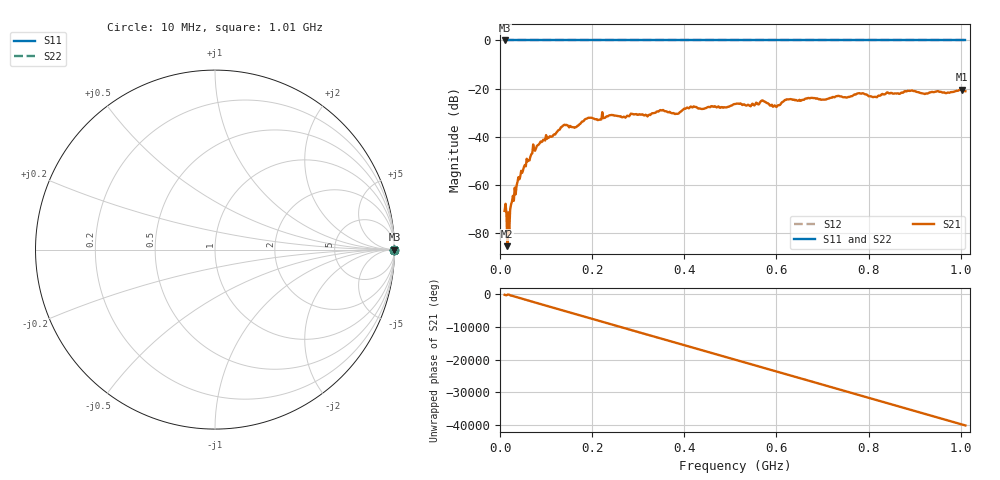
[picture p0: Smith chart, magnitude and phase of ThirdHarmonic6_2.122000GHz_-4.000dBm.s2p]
! 8/17/2025 1:21:50 AM
! C:\ANRITSUVNA\TEMP\TEMP.S2P
! CHANNEL.1
! TR.MEASUREMENT
! RAW.DATA
! RF.CORRECTION.OFF
! AVERAGING.OFF
! IF.BANDWIDTH: 5KHZ
! SWEEPTYPE:  FREQ.SWEEP(Linear)
! Reference Plane Port Info
! PORT:  PORT1  PORT2
! DISTANCE:  0  m  0  m
! TIME:  0  s  0  s
! PHASE.OFFSET:  0  deg.  0  deg.
! LOSS:  0  dB  0  dB
! REF.LOSS:  0  dB  0  dB
! REF.FREQ:  0  Hz  0  Hz
! Power Info
! POWER:  -20  dBm  -20  dBm
! EFF.POWER:  -20  dBm  -20  dBm
! SOURCE.ATTEN:  0  dB  0  dB
! TEST.ATTEN:  0  dB  0  dB
# GHZ S RI R 50.0
! FREQ.GHZ  S11RE  S11IM  S21RE  S21IM  S12RE  S12IM  S22RE  S22IM
!; PortSelection: Port_12
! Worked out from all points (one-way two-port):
!   501 points, 10 MHz to 1.01 GHz, reference 50 ohm
!   highest |S21| = -20.43 dB at 1.002 GHz (marker M1); lowest = -85.5 dB at 16 MHz (marker M2)
!   lowest |S11| = 0.0 dB at 10 MHz (marker M3)
!   |S11| at or under -10 dB: nowhere
!   |S22| runs from 0.0 to 0.0 dB; largest |S21 - S12| = 1.1
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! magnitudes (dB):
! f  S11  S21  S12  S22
! 10 MHz  0.0  -70.8  0.0  0.0
! 16 MHz  0.0  -85.5  0.0  0.0
! 20 MHz  0.0  -80.3  0.0  0.0
! 28 MHz  0.0  -64.5  0.0  0.0
! 42 MHz  0.0  -57.7  0.0  0.0
! 76 MHz  0.0  -45.8  0.0  0.0
! 136 MHz  0.0  -35.6  0.0  0.0
! 162 MHz  0.0  -36.3  0.0  0.0
! 178 MHz  0.0  -33.7  0.0  0.0
! 194 MHz  0.0  -32.1  0.0  0.0
! 322 MHz  0.0  -31.1  0.0  0.0
! 344 MHz  0.0  -29.5  0.0  0.0
! 384 MHz  0.0  -30.5  0.0  0.0
! 418 MHz  0.0  -27.8  0.0  0.0
! 510 MHz  0.0  -26.4  0.0  0.0
! 570 MHz  0.0  -24.9  0.0  0.0
! 596 MHz  0.0  -27.0  0.0  0.0
! 622 MHz  0.0  -24.4  0.0  0.0
! 678 MHz  0.0  -23.9  0.0  0.0
! 844 MHz  0.0  -22.0  0.0  0.0
! 1.002 GHz  0.0  -20.4  0.0  0.0
! 1.01 GHz  0.0  -21.1  0.0  0.0
